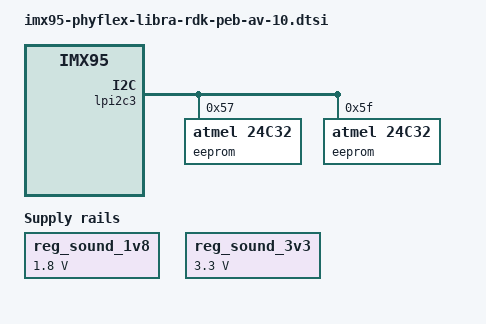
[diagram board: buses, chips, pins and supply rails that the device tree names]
// SPDX-License-Identifier: (GPL-2.0-or-later OR MIT)
/*
 * Copyright (C) 2025 PHYTEC Messtechnik GmbH
 */

#include <dt-bindings/gpio/gpio.h>
#include "imx95-pinfunc.h"
#include "imx95-clock.h"


&{/} {
	panel_lvds2: panel-lvds1 {
		backlight = <&backlight>;
		pinctrl-0 = <&pinctrl_lvds1>;
		pinctrl-names = "default";
		power-supply = <&reg_vdd_3v3>;
		enable-gpios =<&gpio5 8 GPIO_ACTIVE_HIGH>;

		status = "disabled";

		port {
			panel1_in: endpoint {
				remote-endpoint = <&lvds2_out>;
			};
		};
	};

	reg_sound_1v8: regulator-1v8 {
		compatible = "regulator-fixed";
		regulator-name = "VCC_1V8_Audio";
		regulator-min-microvolt = <1800000>;
		regulator-max-microvolt = <1800000>;
	};

	reg_sound_3v3: regulator-3v3 {
		compatible = "regulator-fixed";
		regulator-name = "VCC_3V3_Analog";
		regulator-min-microvolt = <3300000>;
		regulator-max-microvolt = <3300000>;
	};

	sound-peb-av-10 {
		compatible = "simple-audio-card";
		simple-audio-card,name = "snd-peb-av-10";
		simple-audio-card,format = "i2s";
		simple-audio-card,bitclock-master = <&dailink_master>;
		simple-audio-card,frame-master = <&dailink_master>;
		simple-audio-card,mclk-fs = <32>;
		simple-audio-card,widgets =
			"Line", "Line In",
			"Speaker", "Speaker",
			"Microphone", "Microphone Jack",
			"Headphone", "Headphone Jack";
		simple-audio-card,routing =
			"Speaker", "SPOP",
			"Speaker", "SPOM",
			"Headphone Jack", "HPLOUT",
			"Headphone Jack", "HPROUT",
			"LINE1L", "Line In",
			"LINE1R", "Line In",
			"MIC3R", "Microphone Jack",
			"Microphone Jack", "Mic Bias";
		status = "disabled";

		simple-audio-card,cpu {
			sound-dai = <&sai5>;
		};

		dailink_master: simple-audio-card,codec {
			sound-dai = <&codec>;
			clocks = <&osc_mclk_gated>;
		};
	};
};

&ldb {
	#address-cells = <1>;
	#size-cells = <0>;
	/* 72.4 MHz Pixel clock */
	assigned-clocks = <&scmi_clk IMX95_CLK_LDBPLL_VCO>,
			  <&scmi_clk IMX95_CLK_LDBPLL>;
	assigned-clock-rates = <3040800000>, <506800000>;

	channel@1 {
		#address-cells = <1>;
		#size-cells = <0>;

		port@1 {
			lvds2_out: endpoint {
				remote-endpoint = <&panel1_in>;
			};
		};
	};
};

&lpi2c3 {
	#address-cells = <1>;
	#size-cells = <0>;
	codec: codec@18 {
		compatible = "ti,tlv320aic3007";
		reg = <0x18>;
		pinctrl-names = "default";
		pinctrl-0 = <&pinctrl_tlv320>;
		#sound-dai-cells = <0>;
		ai3x-gpio-func = <0xd 0x0>;
		ai3x-micbias-vg = <2>;
		AVDD-supply = <&reg_sound_3v3>;
		IOVDD-supply = <&reg_sound_3v3>;
		DRVDD-supply = <&reg_sound_3v3>;
		DVDD-supply = <&reg_sound_1v8>;
		status = "disabled";
	};

	eeprom@57 {
		compatible = "atmel,24c32";
		reg = <0x57>;
		pagesize = <32>;
	};

	eeprom@5f {
		compatible = "atmel,24c32";
		reg = <0x5f>;
		pagesize = <32>;
		size = <32>;
	};
};

&sai5 {
	#sound-dai-cells = <0>;
	assigned-clocks = <&scmi_clk IMX95_CLK_AUDIOPLL1_VCO>,
			  <&scmi_clk IMX95_CLK_AUDIOPLL2_VCO>,
			  <&scmi_clk IMX95_CLK_AUDIOPLL1>,
			  <&scmi_clk IMX95_CLK_AUDIOPLL2>,
			  <&scmi_clk IMX95_CLK_SAI5>;
	assigned-clock-parents = <0>, <0>, <0>, <0>,
				 <&scmi_clk IMX95_CLK_AUDIOPLL1>;
	assigned-clock-rates = <3932160000>,
			       <3612672000>, <393216000>,
			       <361267200>, <19200000>;
};


/* overwrite, we don't use all of them here */
&pinctrl_sai5 {
	fsl,pins = <
		IMX95_PAD_XSPI1_DATA7__SAI5_RX_DATA_BIT0	0x51e	/* SAI1_RX_DATA */
		IMX95_PAD_XSPI1_DATA5__SAI5_TX_SYNC		0x51e	/* SAI1_TX_SYNC */
		IMX95_PAD_XSPI1_DATA6__SAI5_TX_BCLK		0x51e	/* SAI1_TX_BCLK */
		IMX95_PAD_XSPI1_DATA4__SAI5_TX_DATA_BIT0	0x51e	/* SAI1_TX_DATA */
	>;
};

&scmi_iomuxc {
	pinctrl_lvds1: lvds1grp {
		fsl,pins = <
			IMX95_PAD_XSPI1_DQS__GPIO5_IO_BIT8	0x31e	/* DISPLAY ENABLE */
		>;
	};

	pinctrl_tlv320: tlv320grp {
		fsl,pins = <
			IMX95_PAD_XSPI1_SS1_B__GPIO5_IO_BIT11	0x31e	/* TLV320 GPIO1 */
		>;
	};
};
